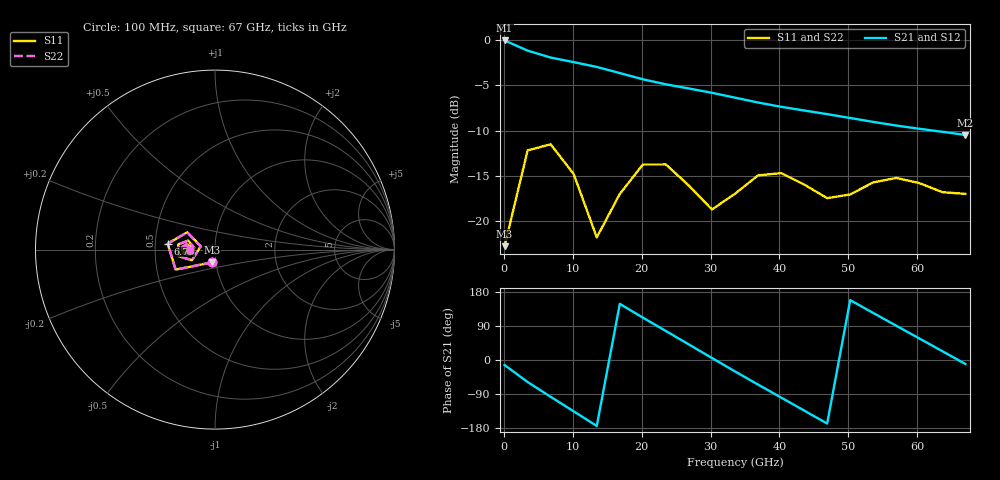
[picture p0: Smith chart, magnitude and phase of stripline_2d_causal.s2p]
! Touchstone file from project stripline_2d
! Exported from 2D Extractor 2015.0.0
! Variables:
!  t = 35um
!  w = 0.3mm
!  x_sub = 3mm
!  z_sub = 200um
# GHZ S MA R 50.000000
! Terminal data exported
! Port[1] = signal_A
! Port[2] = signal_B
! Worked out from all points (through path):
!   21 points, 100 MHz to 67 GHz, reference per port
!   highest |S21| = -0.08 dB at 100 MHz (marker M1); lowest = -10.5 dB at 67 GHz (marker M2)
!   lowest |S11| = -22.7 dB at 100 MHz (marker M3), VSWR 1.16
!   |S11| at or under -10 dB: start of sweep to end of sweep
!   |S22| runs from -22.7 to -11.5 dB; largest |S21 - S12| = 0
!   S11 on the Smith chart (normalised r, x): 100 MHz: 0.96, -0.14; 6.79 GHz: 0.58, +0.04; 67 GHz: 0.75, -0.00
0.1  0.0731 -102.8  0.9908 -13.3  0.9908 -13.3  0.0731 -102.8
! Gamma 0 0 0 0 0 0 0 0
! Port Impedance50 0 0 0 0 0 50 0
3.445  0.246 -153.0  0.8709 -58.2  0.8709 -58.2  0.246 -153.0
6.79  0.2657 172.9  0.7976 -97.2  0.7976 -97.2  0.2657 172.9
10.135  0.1823 148.0  0.7529 -135.5  0.7529 -135.5  0.1823 148.0
13.48  0.08163 167.1  0.7084 -174.1  0.7084 -174.1  0.08163 167.1
16.825  0.1417 -155.4  0.6554 148.1  0.6554 148.1  0.1417 -155.4
20.17  0.2056 -169.7  0.6059 111.8  0.6059 111.8  0.2056 -169.7
23.515  0.2059 171.8  0.5682 76.4  0.5682 76.4  0.2059 171.8
26.86  0.1574 161.5  0.5389 40.9  0.5389 40.9  0.1574 161.5
30.205  0.1164 174.9  0.5104 5.3  0.5104 5.3  0.1164 174.9
33.55  0.142 -168.4  0.48 -30.1  0.48 -30.1  0.142 -168.4
36.895  0.1793 -173.3  0.4513 -64.8  0.4513 -64.8  0.1793 -173.3
40.24  0.1845 175.7  0.4275 -99.1  0.4275 -99.1  0.1845 175.7
43.585  0.1598 169.0  0.4079 -133.3  0.4079 -133.3  0.1598 169.0
46.93  0.1343 174.3  0.3895 -167.7  0.3895 -167.7  0.1343 174.3
50.275  0.1408 -175.2  0.3709 158.0  0.3709 158.0  0.1408 -175.2
53.62  0.164 -174.9  0.3529 124.1  0.3529 124.1  0.164 -174.9
56.965  0.1735 178.7  0.3371 90.4  0.3371 90.4  0.1735 178.7
60.31  0.1626 173.3  0.3236 56.9  0.3236 56.9  0.1626 173.3
63.655  0.1449 174.3  0.3114 23.2  0.3114 23.2  0.1449 174.3
67  0.1418 -179.3  0.2994 -10.5  0.2994 -10.5  0.1418 -179.3
